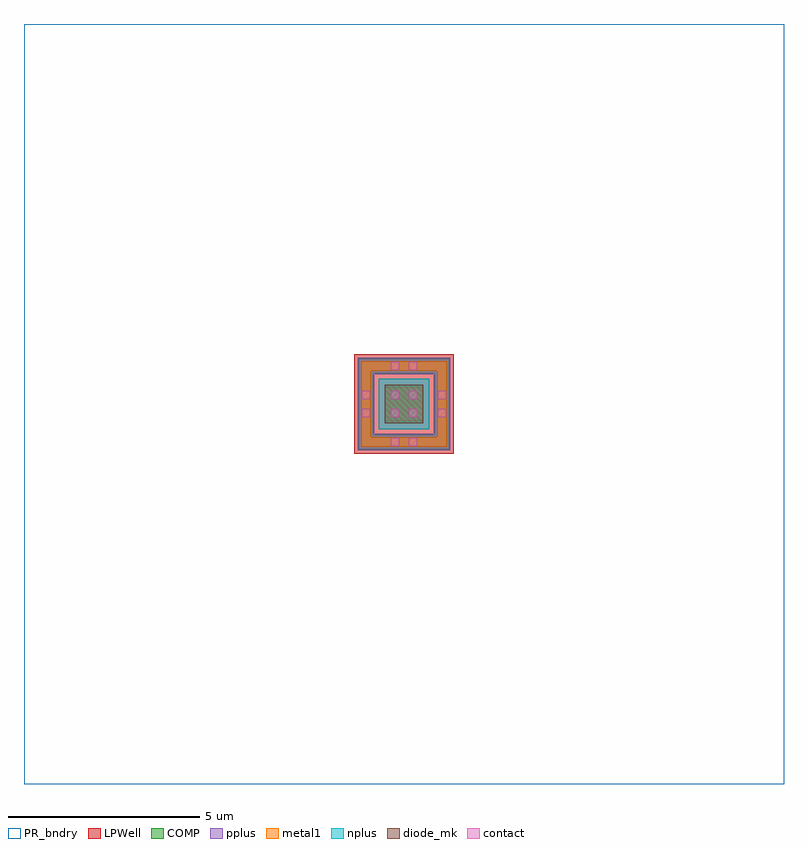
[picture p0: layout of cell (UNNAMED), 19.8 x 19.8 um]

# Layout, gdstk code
import gdstk
lib = gdstk.Library(unit=1e-6, precision=1e-09)
def R(c, l, rs):  # rectangles x0, y0, x1, y1
    for r in rs: c.add(gdstk.rectangle(r[:2], r[2:], *l))
PR_bndry = (0, 0)
COMP = (22, 0)
pplus = (31, 0)
nplus = (32, 0)
contact = (33, 0)
metal1 = (34, 0)
diode_mk = (115, 5)
LPWell = (204, 0)

c__unnamed_ = lib.new_cell('(UNNAMED)')
R(c__unnamed_, PR_bndry, [(-9.9,-9.9,9.9,9.9)])
R(c__unnamed_, COMP, [(-1.18,-1.18,1.18,-0.8), (-1.18,-0.8,-0.8,0.8), (0.8,-0.8,1.18,0.8), (-0.5,-0.5,0.5,0.5), (-1.18,0.8,1.18,1.18)])
R(c__unnamed_, pplus, [(-0.675,-1.21,0.675,-1.2), (-1.2,-1.2,1.2,-0.77), (-1.2,-0.77,-0.77,-0.675), (0.77,-0.77,1.2,-0.675), (-1.21,-0.675,-0.77,0.675), (0.77,-0.675,1.21,0.675), (-1.2,0.675,-0.77,0.77), (0.77,0.675,1.2,0.77), (-1.2,0.77,1.2,1.2), (-0.675,1.2,0.675,1.21)])
R(c__unnamed_, nplus, [(-0.66,-0.66,0.66,0.66)])
R(c__unnamed_, contact, [(-0.345,-1.1,-0.125,-0.88), (0.125,-1.1,0.345,-0.88), (-1.1,-0.345,-0.88,-0.125), (-0.345,-0.345,-0.125,-0.125), (0.125,-0.345,0.345,-0.125), (0.88,-0.345,1.1,-0.125), (-1.1,0.125,-0.88,0.345), (-0.345,0.125,-0.125,0.345), (0.125,0.125,0.345,0.345), (0.88,0.125,1.1,0.345), (-0.345,0.88,-0.125,1.1), (0.125,0.88,0.345,1.1)])
R(c__unnamed_, metal1, [(-1.115,-1.115,1.115,-0.865), (-1.115,-0.865,-0.865,0.865), (0.865,-0.865,1.115,0.865), (-0.49,-0.435,0.49,0.435), (-1.115,0.865,1.115,1.115)])
R(c__unnamed_, diode_mk, [(-0.5,-0.5,0.5,0.5)])
R(c__unnamed_, LPWell, [(-1.3,-1.3,1.3,1.3)])

lib.write_gds('_UNNAMED_.gds')
